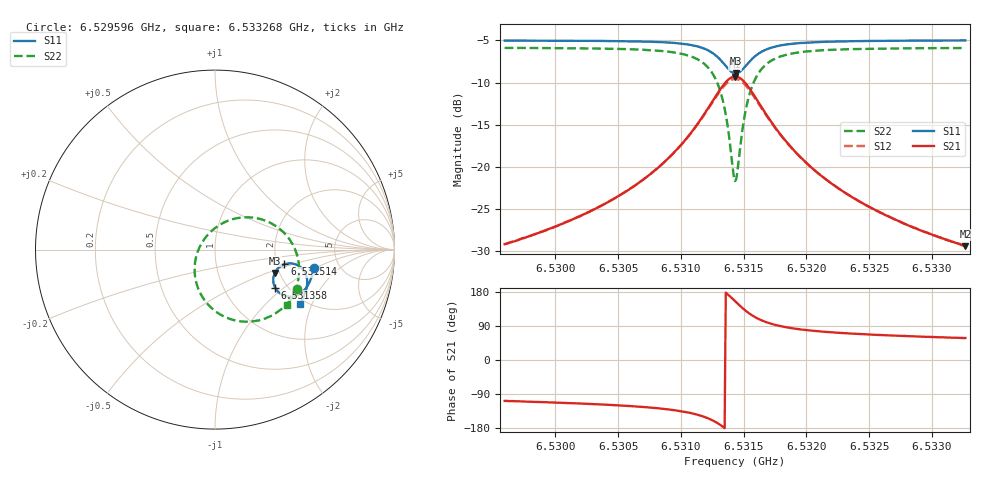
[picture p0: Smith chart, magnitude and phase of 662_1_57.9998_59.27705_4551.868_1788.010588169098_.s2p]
#  HZ  S  RI  R  50.00
! Rohde & Schwarz Vector Network Analyzer
! Rohde-Schwarz,ZNB20-2Port,1311601062101988,3.16
! Created: UTC 3/21/2024, 1:19:59 AM
! freq[Hz]  re:S11  im:S11  re:S21  im:S21  re:S12  im:S12  re:S22  im:S22
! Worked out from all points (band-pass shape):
!   401 points, 6.529596 GHz to 6.533268 GHz, reference 50 ohm
!   highest |S21| = -9.29 dB at 6.531432 GHz (marker M1); lowest = -29.4 dB at 6.533268 GHz (marker M2)
!   |S21| within 3 dB of the highest: 6.53125 GHz to 6.531617 GHz (366.7 kHz wide, 0.00561 % of centre)
!   lowest |S11| = -8.9 dB at 6.531441 GHz (marker M3), VSWR 2.11, Z = 94.5 - j28.2 ohm
!   |S11| at or under -10 dB: nowhere
!   |S22| runs from -21.7 to -5.9 dB; largest |S21 - S12| = 0.015
!   S11 on the Smith chart (normalised r, x): 6.529596 GHz: 3.24, -0.95; 6.531358 GHz: 1.73, -0.87; 6.531514 GHz: 2.20, -0.43; 6.533268 GHz: 1.84, -1.64
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6.5295958e9  0.5513 -0.1004  -0.0107 -0.033  -0.0113 -0.0329  0.4583 -0.2178
6.5302109e9  0.5378 -0.1526  -0.0217 -0.0467  -0.023 -0.0462  0.4221 -0.2762
6.5305689e9  0.5237 -0.1873  -0.0369 -0.0616  -0.0387 -0.0607  0.3827 -0.3199
6.530826e9  0.5053 -0.2168  -0.0608 -0.079  -0.0634 -0.0771  0.3292 -0.3601
6.5310371e9  0.4749 -0.2453  -0.1061 -0.0984  -0.1092 -0.0944  0.2389 -0.3954
6.5312024e9  0.4219 -0.2623  -0.1888 -0.1007  -0.1905 -0.0923  0.0897 -0.3885
6.5312942e9  0.3711 -0.2496  -0.2665 -0.0619  -0.2637 -0.0505  -0.0367 -0.3078
6.5313309e9  0.3491 -0.2319  -0.2987 -0.0254  -0.2925 -0.0137  -0.0834 -0.2401
6.5313584e9  0.3351 -0.212  -0.3176 0.0127  -0.3083 0.0234  -0.107 -0.1733
6.5314135e9  0.3251 -0.1583  -0.3231 0.1093  -0.3099 0.1145  -0.0974 -0.0143
6.5314319e9  0.3295 -0.1393  -0.3122 0.1424  -0.2987 0.145  -0.0732 0.0373
6.531441e9  0.3332 -0.1301  -0.3044 0.158  -0.291 0.1595  -0.0577 0.0613
6.5314594e9  0.3431 -0.1134  -0.2842 0.1862  -0.2717 0.1856  -0.0197 0.1034
6.5314778e9  0.356 -0.0995  -0.2597 0.2095  -0.2482 0.2069  0.0244 0.1368
6.5315145e9  0.3865 -0.0817  -0.2043 0.2384  -0.1961 0.2338  0.12 0.1745
6.5315787e9  0.4372 -0.0789  -0.1164 0.2426  -0.1124 0.2383  0.267 0.1661
6.5316705e9  0.4819 -0.1027  -0.0403 0.206  -0.0387 0.2035  0.3893 0.0887
6.5318082e9  0.5074 -0.1423  0.00397 0.1508  0.00524 0.1496  0.4543 -0.0211
6.5320469e9  0.5137 -0.1899  0.0214 0.0957  0.0226 0.0953  0.4682 -0.1328
6.5323132e9  0.5078 -0.2246  0.0231 0.0658  0.0241 0.0655  0.4562 -0.1994
6.532662e9  0.4957 -0.2587  0.0214 0.0457  0.0223 0.0452  0.4358 -0.2522
6.5332679e9  0.4713 -0.3057  0.0178 0.0287  0.0186 0.0284  0.4011 -0.3097
